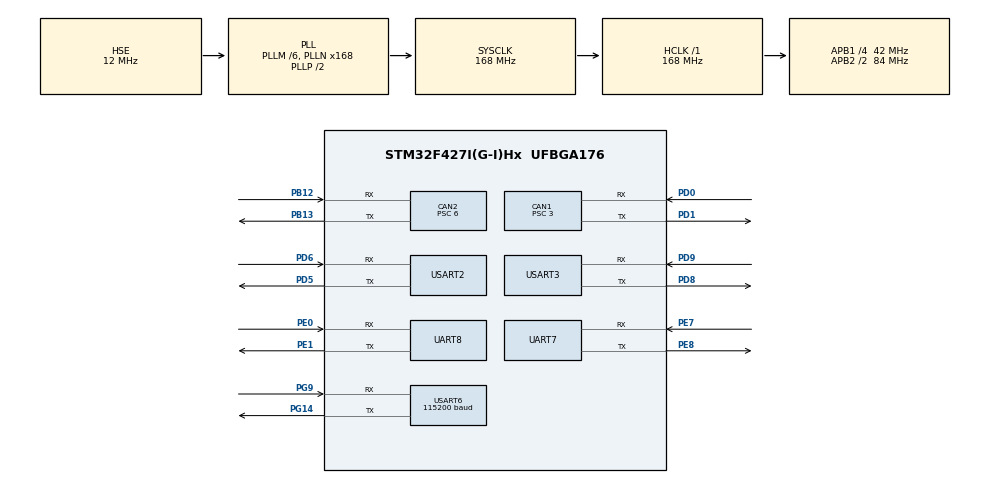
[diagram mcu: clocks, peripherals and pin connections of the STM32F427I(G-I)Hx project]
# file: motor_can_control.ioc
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CAN1.BS1=CAN_BS1_10TQ
CAN1.BS2=CAN_BS2_3TQ
CAN1.CalculateBaudRate=1000000
CAN1.CalculateTimeBit=1000
CAN1.CalculateTimeQuantum=71.42857142857143
CAN1.Prescaler=3
CAN2.BS1=CAN_BS1_10TQ
CAN2.BS2=CAN_BS2_3TQ
CAN2.CalculateBaudRate=500000
CAN2.CalculateTimeBit=2000
CAN2.CalculateTimeQuantum=142.85714285714286
CAN2.Prescaler=6
Dma.Request0=USART6_RX
Dma.Request1=USART3_RX
Dma.Request2=UART8_RX
Dma.Request3=UART8_TX
Dma.Request4=UART7_RX
Dma.Request5=USART2_RX
Dma.Request6=USART3_TX
Dma.UART7_RX.4.Direction=DMA_PERIPH_TO_MEMORY
Dma.UART7_RX.4.FIFOMode=DMA_FIFOMODE_DISABLE
Dma.UART7_RX.4.Instance=DMA1_Stream3
Dma.UART7_RX.4.MemDataAlignment=DMA_MDATAALIGN_BYTE
Dma.UART7_RX.4.MemInc=DMA_MINC_ENABLE
Dma.UART7_RX.4.Mode=DMA_CIRCULAR
Dma.UART7_RX.4.PeriphDataAlignment=DMA_PDATAALIGN_BYTE
Dma.UART7_RX.4.PeriphInc=DMA_PINC_DISABLE
Dma.UART7_RX.4.Priority=DMA_PRIORITY_LOW
Dma.UART8_RX.2.Direction=DMA_PERIPH_TO_MEMORY
Dma.UART8_RX.2.FIFOMode=DMA_FIFOMODE_DISABLE
Dma.UART8_RX.2.Instance=DMA1_Stream6
Dma.UART8_RX.2.MemDataAlignment=DMA_MDATAALIGN_BYTE
Dma.UART8_RX.2.MemInc=DMA_MINC_ENABLE
Dma.UART8_RX.2.Mode=DMA_CIRCULAR
Dma.UART8_RX.2.PeriphDataAlignment=DMA_PDATAALIGN_BYTE
Dma.UART8_RX.2.PeriphInc=DMA_PINC_DISABLE
Dma.UART8_RX.2.Priority=DMA_PRIORITY_LOW
Dma.UART8_TX.3.Direction=DMA_MEMORY_TO_PERIPH
Dma.UART8_TX.3.FIFOMode=DMA_FIFOMODE_DISABLE
Dma.UART8_TX.3.Instance=DMA1_Stream0
Dma.UART8_TX.3.MemDataAlignment=DMA_MDATAALIGN_BYTE
Dma.UART8_TX.3.MemInc=DMA_MINC_ENABLE
Dma.UART8_TX.3.Mode=DMA_NORMAL
Dma.UART8_TX.3.PeriphDataAlignment=DMA_PDATAALIGN_BYTE
Dma.UART8_TX.3.PeriphInc=DMA_PINC_DISABLE
Dma.UART8_TX.3.Priority=DMA_PRIORITY_LOW
Dma.USART2_RX.5.Direction=DMA_PERIPH_TO_MEMORY
Dma.USART2_RX.5.FIFOMode=DMA_FIFOMODE_DISABLE
Dma.USART2_RX.5.Instance=DMA1_Stream5
Dma.USART2_RX.5.MemDataAlignment=DMA_MDATAALIGN_BYTE
Dma.USART2_RX.5.MemInc=DMA_MINC_ENABLE
Dma.USART2_RX.5.Mode=DMA_CIRCULAR
Dma.USART2_RX.5.PeriphDataAlignment=DMA_PDATAALIGN_BYTE
Dma.USART2_RX.5.PeriphInc=DMA_PINC_DISABLE
Dma.USART2_RX.5.Priority=DMA_PRIORITY_LOW
Dma.USART3_RX.1.Direction=DMA_PERIPH_TO_MEMORY
Dma.USART3_RX.1.FIFOMode=DMA_FIFOMODE_DISABLE
Dma.USART3_RX.1.Instance=DMA1_Stream1
Dma.USART3_RX.1.MemDataAlignment=DMA_MDATAALIGN_BYTE
Dma.USART3_RX.1.MemInc=DMA_MINC_ENABLE
Dma.USART3_RX.1.Mode=DMA_CIRCULAR
Dma.USART3_RX.1.PeriphDataAlignment=DMA_PDATAALIGN_BYTE
Dma.USART3_RX.1.PeriphInc=DMA_PINC_DISABLE
Dma.USART3_RX.1.Priority=DMA_PRIORITY_LOW
Dma.USART3_TX.6.Direction=DMA_MEMORY_TO_PERIPH
Dma.USART3_TX.6.FIFOMode=DMA_FIFOMODE_DISABLE
Dma.USART3_TX.6.Instance=DMA1_Stream4
Dma.USART3_TX.6.MemDataAlignment=DMA_MDATAALIGN_BYTE
Dma.USART3_TX.6.MemInc=DMA_MINC_ENABLE
Dma.USART3_TX.6.Mode=DMA_NORMAL
Dma.USART3_TX.6.PeriphDataAlignment=DMA_PDATAALIGN_BYTE
Dma.USART3_TX.6.PeriphInc=DMA_PINC_DISABLE
Dma.USART3_TX.6.Priority=DMA_PRIORITY_LOW
Dma.USART6_RX.0.Direction=DMA_PERIPH_TO_MEMORY
Dma.USART6_RX.0.FIFOMode=DMA_FIFOMODE_DISABLE
Dma.USART6_RX.0.Instance=DMA2_Stream1
Dma.USART6_RX.0.MemDataAlignment=DMA_MDATAALIGN_BYTE
Dma.USART6_RX.0.MemInc=DMA_MINC_ENABLE
Dma.USART6_RX.0.Mode=DMA_CIRCULAR
Dma.USART6_RX.0.PeriphDataAlignment=DMA_PDATAALIGN_BYTE
Dma.USART6_RX.0.PeriphInc=DMA_PINC_DISABLE
Dma.USART6_RX.0.Priority=DMA_PRIORITY_LOW
FREERTOS.INCLUDE_vTaskDelayUntil=1
FREERTOS.Tasks01=MotorText,0,128,MotorTextTask,As weak,NULL,Dynamic,NULL,NULL
Mcu.Family=STM32F4
Mcu.Name=STM32F427I(G-I)Hx
Mcu.Package=UFBGA176
NVIC.CAN1_RX0_IRQn=true\:5\:0\:false\:false\:true\:true\:true\:true\:true
NVIC.CAN2_RX0_IRQn=true\:5\:0\:false\:false\:true\:true\:true\:true\:true
NVIC.DMA1_Stream0_IRQn=true\:5\:0\:false\:false\:true\:true\:false\:true\:true
NVIC.DMA1_Stream1_IRQn=true\:5\:0\:false\:false\:true\:true\:false\:true\:true
NVIC.DMA1_Stream3_IRQn=true\:5\:0\:false\:false\:true\:true\:false\:true\:true
NVIC.DMA1_Stream4_IRQn=true\:5\:0\:false\:false\:true\:true\:false\:true\:true
NVIC.DMA1_Stream5_IRQn=true\:5\:0\:false\:false\:true\:true\:false\:true\:true
NVIC.DMA1_Stream6_IRQn=true\:5\:0\:false\:false\:true\:true\:false\:true\:true
NVIC.DMA2_Stream1_IRQn=true\:5\:0\:false\:false\:true\:true\:false\:true\:true
NVIC.PriorityGroup=NVIC_PRIORITYGROUP_4
NVIC.TIM1_UP_TIM10_IRQn=true\:5\:0\:false\:false\:true\:true\:true\:true\:true
NVIC.TIM6_DAC_IRQn=true\:15\:0\:false\:false\:true\:false\:false\:true\:true
NVIC.TimeBase=TIM6_DAC_IRQn
NVIC.TimeBaseIP=TIM6
NVIC.UART7_IRQn=true\:5\:0\:false\:false\:true\:true\:true\:true\:true
NVIC.UART8_IRQn=true\:5\:0\:false\:false\:true\:true\:true\:true\:true
NVIC.USART2_IRQn=true\:5\:0\:false\:false\:true\:true\:true\:true\:true
NVIC.USART3_IRQn=true\:5\:0\:false\:false\:true\:true\:true\:true\:true
NVIC.USART6_IRQn=true\:5\:0\:false\:false\:true\:true\:true\:true\:true
PA13.Mode=Serial_Wire
PA13.Signal=SYS_JTMS-SWDIO
PA14.Mode=Serial_Wire
PA14.Signal=SYS_JTCK-SWCLK
PB12.Mode=CAN_Activate
PB12.Signal=CAN2_RX
PB13.Mode=CAN_Activate
PB13.Signal=CAN2_TX
PD0.Mode=CAN_Activate
PD0.Signal=CAN1_RX
PD1.Mode=CAN_Activate
PD1.Signal=CAN1_TX
PD5.Mode=Asynchronous
PD5.Signal=USART2_TX
PD6.Mode=Asynchronous
PD6.Signal=USART2_RX
PD8.Mode=Asynchronous
PD8.Signal=USART3_TX
PD9.Mode=Asynchronous
PD9.Signal=USART3_RX
PE0.Mode=Asynchronous
PE0.Signal=UART8_RX
PE1.Mode=Asynchronous
PE1.Signal=UART8_TX
PE7.Mode=Asynchronous
PE7.Signal=UART7_RX
PE8.Mode=Asynchronous
PE8.Signal=UART7_TX
PG14.Mode=Asynchronous
PG14.Signal=USART6_TX
PG9.Mode=Asynchronous
PG9.Signal=USART6_RX
PH0/OSC_IN.Mode=HSE-External-Oscillator
PH0/OSC_IN.Signal=RCC_OSC_IN
PH1/OSC_OUT.Mode=HSE-External-Oscillator
PH1/OSC_OUT.Signal=RCC_OSC_OUT
ProjectManager.HeapSize=0x200
ProjectManager.StackSize=0x400
ProjectManager.TargetToolchain=MDK-ARM V5
RCC.48MHZClocksFreq_Value=84000000
RCC.AHBFreq_Value=168000000
RCC.APB1CLKDivider=RCC_HCLK_DIV4
RCC.APB1Freq_Value=42000000
RCC.APB1TimFreq_Value=84000000
RCC.APB2CLKDivider=RCC_HCLK_DIV2
RCC.APB2Freq_Value=84000000
RCC.APB2TimFreq_Value=168000000
RCC.CortexFreq_Value=168000000
RCC.HCLKFreq_Value=168000000
RCC.HSE_VALUE=12000000
RCC.HSI_VALUE=16000000
RCC.LSE_VALUE=32768
RCC.PLLM=6
RCC.PLLN=168
RCC.PLLSourceVirtual=RCC_PLLSOURCE_HSE
RCC.SYSCLKFreq_VALUE=168000000
RCC.SYSCLKSource=RCC_SYSCLKSOURCE_PLLCLK
RCC.VCOOutputFreq_Value=336000000
TIM1.Period=99
TIM1.Prescaler=1679
UART7.VirtualMode=Asynchronous
UART8.VirtualMode=Asynchronous
USART2.VirtualMode=VM_ASYNC
USART3.VirtualMode=VM_ASYNC
USART6.BaudRate=115200
USART6.VirtualMode=VM_ASYNC
VP_FREERTOS_VS_CMSIS_V1.Mode=CMSIS_V1
VP_SYS_VS_tim6.Mode=TIM6
VP_TIM1_VS_ClockSourceINT.Mode=Internal
board=custom

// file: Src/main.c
/* USER CODE BEGIN Header */
/**
  ******************************************************************************
  * @file           : main.c
  * @brief          : Main program body
  ******************************************************************************
  * @attention
  *
  * Copyright (c) 2024 STMicroelectronics.
  * All rights reserved.
  *
  * This software is licensed under terms that can be found in the LICENSE file
  * in the root directory of this software component.
  * If no LICENSE file comes with this software, it is provided AS-IS.
  *
  ******************************************************************************
  */
/* USER CODE END Header */
#include "main.h"
#include "cmsis_os.h"
#include "can.h"
#include "dma.h"
#include "tim.h"
#include "usart.h"
#include "gpio.h"

/* USER CODE BEGIN Includes */
#include "bsp.h"
/* USER CODE END Includes */

void SystemClock_Config(void);
void MX_FREERTOS_Init(void);

int main(void)
{

  /* MCU Configuration--------------------------------------------------------*/

  /* Reset of all peripherals, Initializes the Flash interface and the Systick. */
  HAL_Init();

  /* Configure the system clock */
  SystemClock_Config();

  /* Initialize all configured peripherals */
  MX_GPIO_Init();
  MX_DMA_Init();
  MX_CAN1_Init();
  MX_USART6_UART_Init();
  MX_TIM1_Init();
  MX_USART3_UART_Init();
  MX_UART8_Init();
  MX_UART7_Init();
  MX_CAN2_Init();
  MX_USART2_UART_Init();
  /* USER CODE BEGIN 2 */
  BSP_Init();
  /* USER CODE END 2 */

  /* Call init function for freertos objects (in freertos.c) */
  MX_FREERTOS_Init();

  /* Start scheduler */
  osKernelStart();

  /* We should never get here as control is now taken by the scheduler */
  /* Infinite loop */
  while (1)
  {

  }
}

void SystemClock_Config(void)
{
  RCC_OscInitTypeDef RCC_OscInitStruct = {0};
  RCC_ClkInitTypeDef RCC_ClkInitStruct = {0};

  /** Configure the main internal regulator output voltage
  */
  __HAL_RCC_PWR_CLK_ENABLE();
  __HAL_PWR_VOLTAGESCALING_CONFIG(PWR_REGULATOR_VOLTAGE_SCALE1);

  /** Initializes the RCC Oscillators according to the specified parameters
  * in the RCC_OscInitTypeDef structure.
  */
  RCC_OscInitStruct.OscillatorType = RCC_OSCILLATORTYPE_HSE;
  RCC_OscInitStruct.HSEState = RCC_HSE_ON;
  RCC_OscInitStruct.PLL.PLLState = RCC_PLL_ON;
  RCC_OscInitStruct.PLL.PLLSource = RCC_PLLSOURCE_HSE;
  RCC_OscInitStruct.PLL.PLLM = 6;
  RCC_OscInitStruct.PLL.PLLN = 168;
  RCC_OscInitStruct.PLL.PLLP = RCC_PLLP_DIV2;
  RCC_OscInitStruct.PLL.PLLQ = 4;
  if (HAL_RCC_OscConfig(&RCC_OscInitStruct) != HAL_OK)
  {
    Error_Handler();
  }

  /** Initializes the CPU, AHB and APB buses clocks
  */
  RCC_ClkInitStruct.ClockType = RCC_CLOCKTYPE_HCLK|RCC_CLOCKTYPE_SYSCLK
                              |RCC_CLOCKTYPE_PCLK1|RCC_CLOCKTYPE_PCLK2;
  RCC_ClkInitStruct.SYSCLKSource = RCC_SYSCLKSOURCE_PLLCLK;
  RCC_ClkInitStruct.AHBCLKDivider = RCC_SYSCLK_DIV1;
  RCC_ClkInitStruct.APB1CLKDivider = RCC_HCLK_DIV4;
  RCC_ClkInitStruct.APB2CLKDivider = RCC_HCLK_DIV2;

  if (HAL_RCC_ClockConfig(&RCC_ClkInitStruct, FLASH_LATENCY_5) != HAL_OK)
  {
    Error_Handler();
  }
}

//void HAL_TIM_PeriodElapsedCallback(TIM_HandleTypeDef *htim)
//{
//  /* USER CODE BEGIN Callback 0 */

//  /* USER CODE END Callback 0 */
//  if (htim->Instance == TIM6) {
//    HAL_IncTick();
//  }
//  /* USER CODE BEGIN Callback 1 */

//  /* USER CODE END Callback 1 */
//}

void Error_Handler(void)
{
  __disable_irq();
  while (1)
  {
  }
}

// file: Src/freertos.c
/* USER CODE BEGIN Header */
/**
  ******************************************************************************
  * File Name          : freertos.c
  * Description        : Code for freertos applications
  ******************************************************************************
  * @attention
  *
  * Copyright (c) 2024 STMicroelectronics.
  * All rights reserved.
  *
  * This software is licensed under terms that can be found in the LICENSE file
  * in the root directory of this software component.
  * If no LICENSE file comes with this software, it is provided AS-IS.
  *
  ******************************************************************************
  */
/* USER CODE END Header */

#include "FreeRTOS.h"
#include "task.h"
#include "main.h"
#include "cmsis_os.h"

/* USER CODE BEGIN Variables */
osThreadId AppRemote_Handle;;
osThreadId ChassisDrive_Handle;
osThreadId Vision_Handle;
osThreadId OffLine_Check_Handle;
/* USER CODE END Variables */
osThreadId MotorTextHandle;

/* USER CODE BEGIN FunctionPrototypes */
void AppRemote_Task(void const * argument);
void ChassisDrive_Task(void const * argument);
void Vision_Task(void const * argument);
void OffLine_Check_Task(void const * argument);
/* USER CODE END FunctionPrototypes */

void MotorTextTask(void const * argument);

void MX_FREERTOS_Init(void); /* (MISRA C 2004 rule 8.1) */

/* GetIdleTaskMemory prototype (linked to static allocation support) */
void vApplicationGetIdleTaskMemory( StaticTask_t **ppxIdleTaskTCBBuffer, StackType_t **ppxIdleTaskStackBuffer, uint32_t *pulIdleTaskStackSize );

/* USER CODE BEGIN GET_IDLE_TASK_MEMORY */
static StaticTask_t xIdleTaskTCBBuffer;
static StackType_t xIdleStack[configMINIMAL_STACK_SIZE];

void vApplicationGetIdleTaskMemory( StaticTask_t **ppxIdleTaskTCBBuffer, StackType_t **ppxIdleTaskStackBuffer, uint32_t *pulIdleTaskStackSize )
{
  *ppxIdleTaskTCBBuffer = &xIdleTaskTCBBuffer;
  *ppxIdleTaskStackBuffer = &xIdleStack[0];
  *pulIdleTaskStackSize = configMINIMAL_STACK_SIZE;
  /* place for user code */
}
/* USER CODE END GET_IDLE_TASK_MEMORY */

void MX_FREERTOS_Init(void) {

  /* Create the thread(s) */
  /* definition and creation of MotorText */
  osThreadDef(MotorText, MotorTextTask, osPriorityNormal, 0, 128);
  MotorTextHandle = osThreadCreate(osThread(MotorText), NULL);

  /* USER CODE BEGIN RTOS_THREADS */
  /* add threads, ... */
/**************************************断线检测任务**************************************/
  osThreadDef(OffLine_Check, OffLine_Check_Task, osPriorityAboveNormal, 0, 256);
	OffLine_Check_Handle = osThreadCreate(osThread(OffLine_Check), NULL);
/**************************************数据处理任务**************************************/
  /*********App数据接收任务*********/
	osThreadDef(AppRemote, AppRemote_Task, osPriorityHigh, 0, 512);
	AppRemote_Handle = osThreadCreate(osThread(AppRemote), NULL);
	/*********视觉数据接收任务*********/
	osThreadDef(Vision, Vision_Task, osPriorityNormal, 0, 256);
	Vision_Handle = osThreadCreate(osThread(Vision), NULL);
/**************************************底盘控制任务**************************************/
  /**************驱动任务**************/
	osThreadDef(ChassisDrive, ChassisDrive_Task, osPriorityNormal, 0, 512);
	ChassisDrive_Handle = osThreadCreate(osThread(ChassisDrive), NULL);
  /* USER CODE END RTOS_THREADS */

}

__weak void MotorTextTask(void const * argument)
{
  for(;;)
  {
    osDelay(1);
  }
}

/* USER CODE BEGIN Application */

__weak void AppRemote_Task(void const * argument)
{
	for(;;)
	{
		osDelay(1);
	}
}

__weak void ChassisDrive_Task(void const * argument)
{
	for(;;)
	{
		osDelay(1);
	}
}

__weak void Vision_Task(void const * argument)
{
	for(;;)
	{
		osDelay(1);
	}
}

__weak void OffLine_Check_Task(void const * argument)
{
	for(;;)
	{
		osDelay(1);
	}
}
/* USER CODE END Application */
